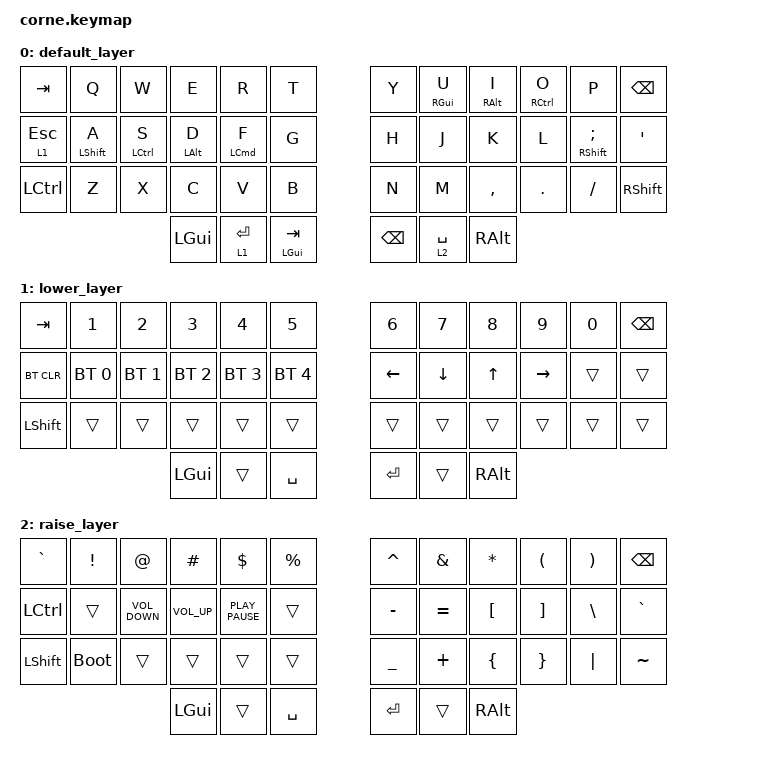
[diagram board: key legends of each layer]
/*
 * Copyright (c) 2020 The ZMK Contributors
 *
 * SPDX-License-Identifier: MIT
 */

#include <behaviors.dtsi>
#include <dt-bindings/zmk/bt.h>
#include <dt-bindings/zmk/keys.h>

/ {
    combos {
        compatible = "zmk,combos";

        escape {
            bindings = <&kp ESCAPE>;
            key-positions = <19 20>;
            timeout-ms = <300>;
            layers = <0>;
        };
    };

    keymap {
        compatible = "zmk,keymap";

        default_layer {
            // -----------------------------------------------------------------------------------------
            // |  TAB |  Q  |  W  |  E  |  R  |  T  |   |  Y  |  U   |  I  |  O  |  P  | BKSP |
            // | CTRL |  A  |  S  |  D  |  F  |  G  |   |  H  |  J   |  K  |  L  |  ;  |  '   |
            // | SHFT |  Z  |  X  |  C  |  V  |  B  |   |  N  |  M   |  ,  |  .  |  /  | ESC  |
            //                    | GUI | LWR | SPC |   | ENT | RSE  | ALT |

            bindings = <
&kp TAB       &kp Q             &kp W        &kp E           &kp R        &kp T               &kp Y          &mt RIGHT_GUI U  &mt RIGHT_ALT I  &mt RCTRL O  &kp P                 &kp BSPC
&lt 1 ESCAPE  &mt LEFT_SHIFT A  &mt LCTRL S  &mt LEFT_ALT D  &mt LCMD F   &kp G               &kp H          &kp J            &kp K            &kp L        &mt RSHIFT SEMICOLON  &kp SQT
&kp LCTRL     &kp Z             &kp X        &kp C           &kp V        &kp B               &kp N          &kp M            &kp COMMA        &kp DOT      &kp FSLH              &kp RIGHT_SHIFT
                                             &kp LGUI        &lt 1 ENTER  &mt LEFT_GUI TAB    &kp BACKSPACE  &lt 2 SPACE      &kp RALT
            >;
        };

        lower_layer {
            // -----------------------------------------------------------------------------------------
            // |  TAB |  1  |  2  |  3  |  4  |  5  |   |  6  |  7  |  8  |  9  |  0  | BKSP |
            // | BTCLR| BT1 | BT2 | BT3 | BT4 | BT5 |   | LFT | DWN |  UP | RGT |     |      |
            // | SHFT |     |     |     |     |     |   |     |     |     |     |     |      |
            //                    | GUI |     | SPC |   | ENT |     | ALT |

            bindings = <
&kp TAB     &kp N1        &kp N2        &kp N3        &kp N4        &kp N5          &kp N6    &kp N7    &kp N8    &kp N9     &kp N0  &kp BSPC
&bt BT_CLR  &bt BT_SEL 0  &bt BT_SEL 1  &bt BT_SEL 2  &bt BT_SEL 3  &bt BT_SEL 4    &kp LEFT  &kp DOWN  &kp UP    &kp RIGHT  &trans  &trans
&kp LSHFT   &trans        &trans        &trans        &trans        &trans          &trans    &trans    &trans    &trans     &trans  &trans
                                        &kp LGUI      &trans        &kp SPACE       &kp RET   &trans    &kp RALT
            >;
        };

        raise_layer {
            // -----------------------------------------------------------------------------------------
            // |  TAB |  !  |  @  |  #  |  $  |  %  |   |  ^  |  &  |  *  |  (  |  )  | BKSP |
            // | CTRL |     |     |     |     |     |   |  -  |  =  |  [  |  ]  |  \  |  `   |
            // | SHFT |     |     |     |     |     |   |  _  |  +  |  {  |  }  | "|" |  ~   |
            //                    | GUI |     | SPC |   | ENT |     | ALT |

            bindings = <
&kp GRAVE  &kp EXCL     &kp AT             &kp HASH         &kp DLLR          &kp PRCNT    &kp CARET  &kp AMPS   &kp ASTRK  &kp LPAR  &kp RPAR  &kp BSPC
&kp LCTRL  &trans       &kp C_VOLUME_DOWN  &kp C_VOLUME_UP  &kp K_PLAY_PAUSE  &trans       &kp MINUS  &kp EQUAL  &kp LBKT   &kp RBKT  &kp BSLH  &kp GRAVE
&kp LSHFT  &bootloader  &trans             &trans           &trans            &trans       &kp UNDER  &kp PLUS   &kp LBRC   &kp RBRC  &kp PIPE  &kp TILDE
                                           &kp LGUI         &trans            &kp SPACE    &kp RET    &trans     &kp RALT
            >;
        };
    };
};
